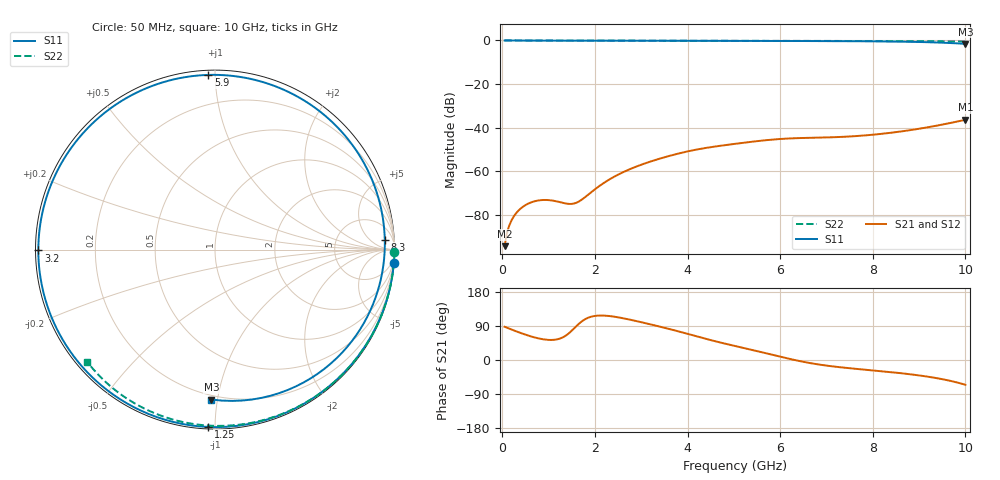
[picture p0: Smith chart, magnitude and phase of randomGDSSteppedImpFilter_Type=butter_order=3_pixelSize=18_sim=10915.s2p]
! freq	dB(S11)	phase(S11)	dB(S12)	phase(S12)
!  dB(S21)	phase(S21)	dB(S22)	phase(S22)
!S-par simulation data
#  GHz  S  DB  R 50
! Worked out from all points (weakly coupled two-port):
!   200 points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, 50 MHz to 10 GHz, reference 50 ohm
!   highest |S21| = -36.40 dB at 10 GHz (marker M1); lowest = -94.3 dB at 50 MHz (marker M2)
!   lowest |S11| = -1.6 dB at 10 GHz (marker M3), VSWR 11.16, Z = 8.68 - j48.1 ohm
!   |S11| at or under -10 dB: nowhere
!   |S22| runs from -0.5 to 0.0 dB; largest |S21 - S12| = 0
!   S11 on the Smith chart (normalised r, x): 50 MHz: 0, -28; 1.25 GHz: 0.01, -0.96; 3.2 GHz: 0.01, -0.00; 5.9 GHz: 0.03, +0.96; 8.3 GHz: 17, +18; 10 GHz: 0.17, -0.96
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0.05  -0.00 -4.2  -94.35 87.6  -94.35 87.6  -0.00 -0.8
0.25  -0.03 -20.5  -80.64 78.0  -80.64 78.0  -0.01 -4.0
0.45  -0.05 -36.4  -76.20 69.0  -76.20 69.0  -0.01 -7.2
0.65  -0.07 -51.7  -74.06 61.2  -74.06 61.2  -0.01 -10.4
0.95  -0.08 -73.0  -73.16 53.5  -73.16 53.5  -0.02 -15.1
1.25  -0.10 -92.2  -74.17 56.8  -74.17 56.8  -0.02 -19.9
1.5  -0.11 -106.6  -74.96 77.4  -74.96 77.4  -0.03 -23.8
1.75  -0.11 -119.8  -72.49 104.8  -72.49 104.8  -0.04 -27.7
2.45  -0.12 -151.5  -62.11 113.7  -62.11 113.7  -0.05 -38.4
3.2  -0.14 -179.7  -55.53 94.0  -55.53 94.0  -0.07 -49.7
3.4  -0.14 173.3  -54.21 88.1  -54.21 88.1  -0.07 -52.7
4.2  -0.16 146.9  -50.02 62.3  -50.02 62.3  -0.09 -64.2
5.05  -0.19 119.8  -47.35 36.3  -47.35 36.3  -0.12 -76.1
5.9  -0.23 92.2  -45.35 11.7  -45.35 11.7  -0.15 -87.6
6.7  -0.27 64.8  -44.62 -9.2  -44.62 -9.2  -0.19 -98.0
7.6  -0.35 31.7  -43.91 -22.9  -43.91 -22.9  -0.25 -109.4
8.3  -0.47 3.4  -42.57 -30.9  -42.57 -30.9  -0.30 -118.1
8.35  -0.48 1.2  -42.44 -31.5  -42.44 -31.5  -0.30 -118.7
8.8  -0.62 -19.0  -41.16 -37.5  -41.16 -37.5  -0.34 -124.2
9.2  -0.81 -39.2  -39.78 -44.2  -39.78 -44.2  -0.38 -129.1
9.65  -1.15 -65.8  -37.96 -54.4  -37.96 -54.4  -0.43 -134.5
10  -1.56 -91.4  -36.40 -65.3  -36.40 -65.3  -0.47 -138.8
